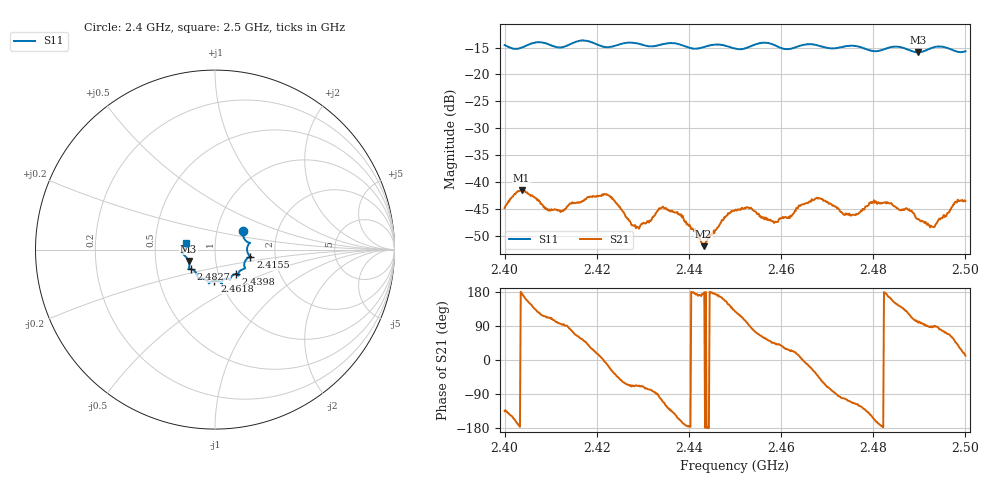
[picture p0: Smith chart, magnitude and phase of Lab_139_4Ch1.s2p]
# Hz S RI R 50
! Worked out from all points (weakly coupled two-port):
!   601 points, 2.4 GHz to 2.5 GHz, reference 50 ohm
!   highest |S21| = -41.52 dB at 2.4037 GHz (marker M1); lowest = -52.0 dB at 2.4432 GHz (marker M2)
!   lowest |S11| = -15.9 dB at 2.4897 GHz (marker M3), VSWR 1.38, Z = 36.9 - j4.82 ohm
!   |S11| at or under -10 dB: start of sweep to end of sweep
!   S12 and S22 are empty: the file has one direction only
!   S11 on the Smith chart (normalised r, x): 2.4 GHz: 1.33, +0.29; 2.4155 GHz: 1.49, -0.12; 2.4398 GHz: 1.21, -0.34; 2.4618 GHz: 0.94, -0.33; 2.4827 GHz: 0.75, -0.17; 2.5 GHz: 0.72, +0.06
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2.4e9  0.1548 0.1062  -0.00402 -0.00405  0 0  0 0
2.403667e9  0.1705 0.051  -0.00838 0.000548  0 0  0 0
2.4095e9  0.1886 0.0315  -0.002 0.00504  0 0  0 0
2.4155e9  0.1976 -0.0398  0.00262 0.0058  0 0  0 0
2.416667e9  0.2025 -0.0431  0.00362 0.0054  0 0  0 0
2.422333e9  0.1658 -0.0682  0.0074 -0.00169  0 0  0 0
2.428833e9  0.1632 -0.1057  0.00139 -0.00355  0 0  0 0
2.433333e9  0.1301 -0.1341  -0.000254 -0.00544  0 0  0 0
2.439833e9  0.1153 -0.1364  -0.00396 -0.000295  0 0  0 0
2.443167e9  0.0874 -0.1564  -0.00251 0.000254  0 0  0 0
2.45e9  0.0649 -0.1616  -0.00335 0.00429  0 0  0 0
2.453e9  0.0382 -0.1758  -0.000195 0.00573  0 0  0 0
2.458833e9  0.0323 -0.1826  0.00309 0.00295  0 0  0 0
2.461833e9  -0.00331 -0.1727  0.00416 0.00198  0 0  0 0
2.466667e9  -0.0346 -0.1879  0.00634 -0.00278  0 0  0 0
2.4755e9  -0.0942 -0.1595  -0.00198 -0.00453  0 0  0 0
2.482667e9  -0.135 -0.109  -0.00646 0.000422  0 0  0 0
2.483333e9  -0.1403 -0.1086  -0.00617 0.0015  0 0  0 0
2.489667e9  -0.1474 -0.0636  -0.000913 0.0044  0 0  0 0
2.492833e9  -0.1751 -0.0275  0.000271 0.00382  0 0  0 0
2.497833e9  -0.1648 0.00262  0.00447 0.00479  0 0  0 0
2.5e9  -0.1597 0.0391  0.0065 0.00131  0 0  0 0
